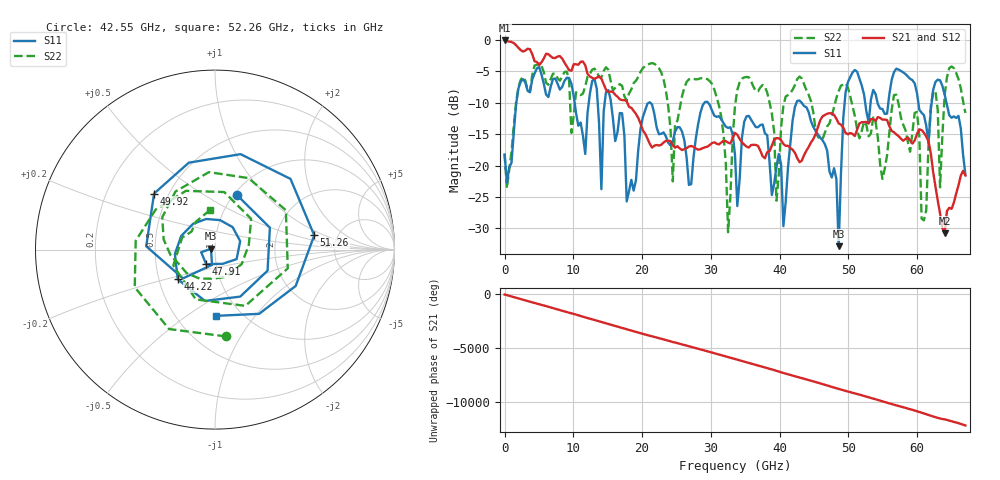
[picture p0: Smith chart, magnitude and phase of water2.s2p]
!Keysight Technologies,N5247B,US55470547,A.17.35.10
!Date: Thursday, May 02, 2024 13:56:41
!Correction: S11(C  2-Port  )
!S21(C  2-Port  )
!S12(C  2-Port  )
!S22(C  2-Port  )
!S2P File: Measurements: S11, S21, S12, S22:
# Hz S  dB  R 50
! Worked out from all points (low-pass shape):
!   201 points, 10 MHz to 67 GHz, reference 50 ohm
!   highest |S21| = -0.08 dB at 10 MHz (marker M1); lowest = -30.7 dB at 63.99 GHz (marker M2)
!   |S21| within 3 dB of the highest: start of sweep to 4.276 GHz; 5.631 GHz to 8.441 GHz (2.81 GHz wide, 39.9 % of centre)
!   lowest |S11| = -32.8 dB at 48.58 GHz (marker M3), VSWR 1.05, Z = 47.8 + j0.448 ohm
!   |S11| at or under -10 dB: 21.19 GHz to 29.07 GHz (7.873 GHz wide, 31.3 % of centre); 29.59 GHz to 42.44 GHz (12.85 GHz wide, 35.7 % of centre); 43.2 GHz to 49.44 GHz (6.243 GHz wide, 13.5 % of centre)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
!   |S22| runs from -30.6 to -3.7 dB; largest |S21 - S12| = 0.0027
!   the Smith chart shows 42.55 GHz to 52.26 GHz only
!   S11 on the Smith chart (normalised r, x): 42.55 GHz: 1.04, +0.70; 44.22 GHz: 0.63, -0.22; 47.91 GHz: 0.90, -0.15; 49.92 GHz: 0.42, +0.33; 51.26 GHz: 3.34, +0.77; 52.26 GHz: 0.77, -0.65
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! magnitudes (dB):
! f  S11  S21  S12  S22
! 10 MHz  -18.2  -0.1  -0.1  -18.2
! 11.4 GHz  -15.2  -3.4  -3.4  -8.5
! 22.45 GHz  -15.0  -16.8  -16.8  -4.5
! 24.46 GHz  -16.1  -16.8  -16.8  -22.5
! 30.16 GHz  -11.2  -16.4  -16.4  -7.0
! 32.5 GHz  -14.0  -16.3  -16.3  -30.6
! 33.51 GHz  -18.3  -14.8  -14.8  -10.5
! 39.53 GHz  -20.2  -15.6  -15.6  -25.6
! 40.54 GHz  -29.6  -16.5  -16.6  -10.5
! 42.55 GHz  -9.7  -18.8  -18.8  -6.2
! 44.22 GHz  -11.5  -17.0  -17.0  -8.7
! 44.89 GHz  -13.9  -15.8  -15.8  -11.6
! 47.91 GHz  -20.4  -12.0  -12.0  -10.7
! 48.58 GHz  -32.8  -13.3  -13.3  -8.1
! 49.92 GHz  -6.7  -15.0  -15.0  -7.6
! 51.26 GHz  -5.1  -14.3  -14.3  -14.2
! 52.26 GHz  -8.7  -13.1  -13.1  -13.0
! 55.95 GHz  -8.6  -13.7  -13.7  -14.7
! 59.97 GHz  -8.5  -14.9  -15.0  -11.5
! 60.97 GHz  -12.0  -14.8  -14.8  -28.7
! 63.99 GHz  -8.7  -30.7  -30.7  -8.8
! 67 GHz  -21.4  -21.6  -21.6  -11.6
